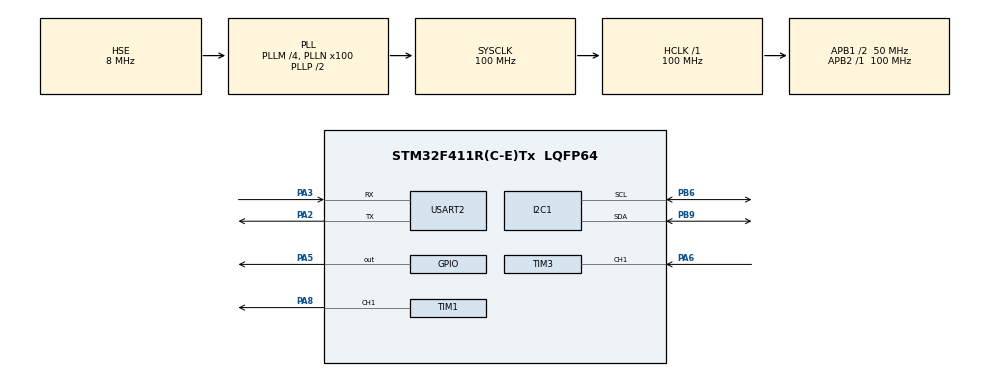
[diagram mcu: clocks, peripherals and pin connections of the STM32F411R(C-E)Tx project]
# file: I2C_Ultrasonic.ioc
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Mcu.Family=STM32F4
Mcu.Name=STM32F411R(C-E)Tx
Mcu.Package=LQFP64
NVIC.PriorityGroup=NVIC_PRIORITYGROUP_4
NVIC.TIM3_IRQn=true\:0\:0\:false\:false\:true\:true\:true\:true
NVIC.USART2_IRQn=true\:0\:0\:false\:false\:true\:true\:true\:true
PA13.Mode=Serial_Wire
PA13.Signal=SYS_JTMS-SWDIO
PA14.Mode=Serial_Wire
PA14.Signal=SYS_JTCK-SWCLK
PA2.Mode=Asynchronous
PA2.Signal=USART2_TX
PA3.Mode=Asynchronous
PA3.Signal=USART2_RX
PA5.Signal=GPIO_Output
PA6.Signal=S_TIM3_CH1
PA8.Signal=S_TIM1_CH1
PB6.Mode=I2C
PB6.Signal=I2C1_SCL
PB9.Mode=I2C
PB9.Signal=I2C1_SDA
PH0\ -\ OSC_IN.Mode=HSE-External-Oscillator
PH0\ -\ OSC_IN.Signal=RCC_OSC_IN
PH1\ -\ OSC_OUT.Mode=HSE-External-Oscillator
PH1\ -\ OSC_OUT.Signal=RCC_OSC_OUT
ProjectManager.HeapSize=0x200
ProjectManager.StackSize=0x400
ProjectManager.TargetToolchain=STM32CubeIDE
RCC.48MHZClocksFreq_Value=50000000
RCC.AHBFreq_Value=100000000
RCC.APB1CLKDivider=RCC_HCLK_DIV2
RCC.APB1Freq_Value=50000000
RCC.APB1TimFreq_Value=100000000
RCC.APB2Freq_Value=100000000
RCC.APB2TimFreq_Value=100000000
RCC.CortexFreq_Value=100000000
RCC.HCLKFreq_Value=100000000
RCC.HSE_VALUE=8000000
RCC.HSI_VALUE=16000000
RCC.LSE_VALUE=32768
RCC.PLLM=4
RCC.PLLN=100
RCC.PLLSourceVirtual=RCC_PLLSOURCE_HSE
RCC.SYSCLKFreq_VALUE=100000000
RCC.SYSCLKSource=RCC_SYSCLKSOURCE_PLLCLK
RCC.VCOOutputFreq_Value=200000000
SH.S_TIM1_CH1.0=TIM1_CH1,PWM Generation1 CH1
SH.S_TIM3_CH1.0=TIM3_CH1,Input_Capture1_from_TI1
TIM1.Channel-PWM\ Generation1\ CH1=TIM_CHANNEL_1
TIM1.Period=2000-1
TIM1.Prescaler=2000-1
TIM3.Channel-Input_Capture1_from_TI1=TIM_CHANNEL_1
TIM3.Prescaler=100-1
USART2.VirtualMode=VM_ASYNC
VP_TIM1_VS_ClockSourceINT.Mode=Internal
VP_TIM3_VS_ClockSourceINT.Mode=Internal
board=custom

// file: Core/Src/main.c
/* USER CODE BEGIN Header */
/**
  ******************************************************************************
  * @file           : main.c
  * @brief          : Main program body
  ******************************************************************************
  * @attention
  *
  * Copyright (c) 2023 STMicroelectronics.
  * All rights reserved.
  *
  * This software is licensed under terms that can be found in the LICENSE file
  * in the root directory of this software component.
  * If no LICENSE file comes with this software, it is provided AS-IS.
  *
  ******************************************************************************
  */
/* USER CODE END Header */
#include "main.h"
#include "i2c.h"
#include "tim.h"
#include "usart.h"
#include "gpio.h"

/* USER CODE BEGIN Includes */
#include "I2C_LCD.h"
#include "delay.h"
#include "stdio.h"
/* USER CODE END Includes */

/* USER CODE BEGIN PD */
#define TRIG_PORT	GPIOA
#define TRIG_PIN	GPIO_PIN_5
/* USER CODE END PD */

/* USER CODE BEGIN PV */
uint32_t INC_Value1 = 0;
uint32_t INC_Value2 = 0;
uint32_t echoTime = 0;
uint8_t captureFlag = 0;
uint8_t distance = 0;
/* USER CODE END PV */

void SystemClock_Config(void);
/* USER CODE BEGIN PFP */
void HAL_TIM_IC_CaptureCallback(TIM_HandleTypeDef *htim)
{
  if(htim->Channel == HAL_TIM_ACTIVE_CHANNEL_1)
  {
    if(captureFlag == 0)		// Not capture INC_Value1
    {
      INC_Value1 = HAL_TIM_ReadCapturedValue(htim, TIM_CHANNEL_1);
      captureFlag = 1;

      __HAL_TIM_SET_CAPTUREPOLARITY(htim, TIM_CHANNEL_1, TIM_INPUTCHANNELPOLARITY_FALLING);
    }
    else if(captureFlag == 1)	//INC_Value1 captured
    {
      INC_Value2 = HAL_TIM_ReadCapturedValue(htim, TIM_CHANNEL_1);
      __HAL_TIM_SET_COUNTER(htim, 0);

      if(INC_Value2 >= INC_Value1)
      {
	echoTime = INC_Value2 - INC_Value1;
      }
      else if(INC_Value1 >= INC_Value2)
      {
	echoTime = (0xffff - INC_Value1) + INC_Value2;
      }
      //distance = echoTime * .034/2;
      distance = echoTime / 58;
      captureFlag = 0;

      __HAL_TIM_SET_CAPTUREPOLARITY(htim, TIM_CHANNEL_1, TIM_INPUTCHANNELPOLARITY_RISING);
      __HAL_TIM_DISABLE_IT(htim, TIM_IT_CC1);

    }
  }
}

void HCSR04_Read(void)
{
  HAL_GPIO_WritePin(TRIG_PORT, TRIG_PIN, GPIO_PIN_SET);
  delay_us(10);
  HAL_GPIO_WritePin(TRIG_PORT, TRIG_PIN, GPIO_PIN_RESET);

  __HAL_TIM_ENABLE_IT(&htim3, TIM_IT_CC1);
}
/* USER CODE END PFP */

int main(void)
{

  /* MCU Configuration--------------------------------------------------------*/

  /* Reset of all peripherals, Initializes the Flash interface and the Systick. */
  HAL_Init();

  /* Configure the system clock */
  SystemClock_Config();

  /* Initialize all configured peripherals */
  MX_GPIO_Init();
  MX_TIM3_Init();
  MX_USART2_UART_Init();
  MX_I2C1_Init();
  MX_TIM1_Init();
  /* USER CODE BEGIN 2 */
  LCD_Init();
  HAL_TIM_PWM_Start(&htim1, TIM_CHANNEL_1);
  HAL_TIM_IC_Start_IT(&htim3, TIM_CHANNEL_1);
  uint8_t buff[30];
  /* USER CODE END 2 */

  /* Infinite loop */
  while (1)
  {

    /* USER CODE BEGIN 3 */
    HCSR04_Read();
    sprintf(buff, "Ultrasonic : %03d", distance);
    TIM1->PSC = distance*15;
    HAL_Delay(100);
    TIM1->CCR1 = 0;
    HAL_Delay(5);
    TIM1->CCR1 = 500;
    LCD_Put_cur(0, 0);
    LCD_Send_string(buff);
    HAL_Delay(50);
  }
  /* USER CODE END 3 */
}

void SystemClock_Config(void)
{
  RCC_OscInitTypeDef RCC_OscInitStruct = {0};
  RCC_ClkInitTypeDef RCC_ClkInitStruct = {0};

  /** Configure the main internal regulator output voltage
  */
  __HAL_RCC_PWR_CLK_ENABLE();
  __HAL_PWR_VOLTAGESCALING_CONFIG(PWR_REGULATOR_VOLTAGE_SCALE1);

  /** Initializes the RCC Oscillators according to the specified parameters
  * in the RCC_OscInitTypeDef structure.
  */
  RCC_OscInitStruct.OscillatorType = RCC_OSCILLATORTYPE_HSE;
  RCC_OscInitStruct.HSEState = RCC_HSE_ON;
  RCC_OscInitStruct.PLL.PLLState = RCC_PLL_ON;
  RCC_OscInitStruct.PLL.PLLSource = RCC_PLLSOURCE_HSE;
  RCC_OscInitStruct.PLL.PLLM = 4;
  RCC_OscInitStruct.PLL.PLLN = 100;
  RCC_OscInitStruct.PLL.PLLP = RCC_PLLP_DIV2;
  RCC_OscInitStruct.PLL.PLLQ = 4;
  if (HAL_RCC_OscConfig(&RCC_OscInitStruct) != HAL_OK)
  {
    Error_Handler();
  }

  /** Initializes the CPU, AHB and APB buses clocks
  */
  RCC_ClkInitStruct.ClockType = RCC_CLOCKTYPE_HCLK|RCC_CLOCKTYPE_SYSCLK
                              |RCC_CLOCKTYPE_PCLK1|RCC_CLOCKTYPE_PCLK2;
  RCC_ClkInitStruct.SYSCLKSource = RCC_SYSCLKSOURCE_PLLCLK;
  RCC_ClkInitStruct.AHBCLKDivider = RCC_SYSCLK_DIV1;
  RCC_ClkInitStruct.APB1CLKDivider = RCC_HCLK_DIV2;
  RCC_ClkInitStruct.APB2CLKDivider = RCC_HCLK_DIV1;

  if (HAL_RCC_ClockConfig(&RCC_ClkInitStruct, FLASH_LATENCY_3) != HAL_OK)
  {
    Error_Handler();
  }
}

void Error_Handler(void)
{
  __disable_irq();
  while (1)
  {
  }
}
